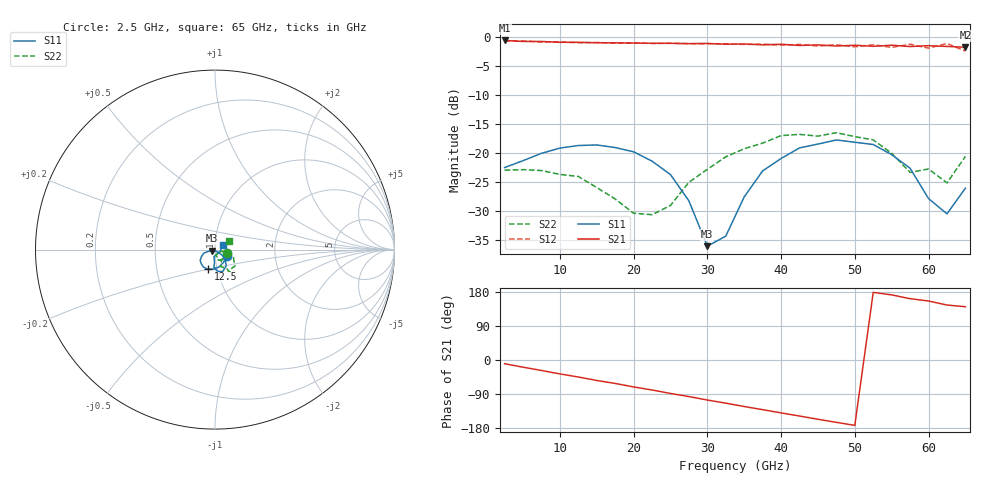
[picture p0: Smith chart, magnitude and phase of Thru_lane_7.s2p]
! File created by SignalIntegrity v1.5.1: Signal and Power Integrity Tools
! https://github.com/Nubis-Communications/SignalIntegrity
# MHz S MA R 50.0
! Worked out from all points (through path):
!   26 points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, 2.5 GHz to 65 GHz, reference 50 ohm
!   highest |S21| = -0.63 dB at 2.5 GHz (marker M1); lowest = -1.8 dB at 65 GHz (marker M2)
!   group delay of S21, straight-line fit = 9.4 ps
!   lowest |S11| = -36.1 dB at 30 GHz (marker M3), VSWR 1.03, Z = 48.5 - j0.526 ohm
!   |S11| at or under -10 dB: start of sweep to end of sweep
!   |S22| runs from -30.6 to -16.5 dB; largest |S21 - S12| = 0.072
!   S11 on the Smith chart (normalised r, x): 2.5 GHz: 1.14, -0.08; 12.5 GHz: 0.91, -0.20; 65 GHz: 1.09, +0.05
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2500  0.07476 -29.0  0.93 -9.8  0.916 -10.0  0.07091 -14.2
5000  0.08568 -56.8  0.9115 -18.9  0.9227 -18.8  0.07173 -32.9
12500  0.1158 -108.8  0.8975 -44.9  0.8874 -45.5  0.06264 -71.4
15000  0.1171 -122.3  0.8876 -54.0  0.8946 -53.4  0.05031 -79.7
20000  0.1022 -143.9  0.8829 -71.1  0.8866 -70.4  0.03021 -83.3
22500  0.08489 -152.8  0.8799 -79.1  0.8761 -80.1  0.02935 -41.5
25000  0.06501 -162.5  0.879 -88.3  0.8789 -87.4  0.03526 -15.9
27500  0.03857 -165.4  0.8725 -96.4  0.874 -97.4  0.05583 -9.9
30000  0.01572 -159.9  0.8763 -105.7  0.8717 -104.7  0.07222 -16.9
32500  0.01919 -42.1  0.863 -113.9  0.8698 -114.7  0.09253 -16.1
35000  0.04179 -37.8  0.8681 -122.8  0.86 -121.8  0.1086 -20.2
37500  0.06994 -40.4  0.8524 -131.1  0.8638 -131.9  0.1215 -29.8
40000  0.08947 -48.9  0.8626 -139.6  0.848 -138.9  0.1409 -38.1
42500  0.1104 -55.6  0.8421 -147.9  0.8586 -148.7  0.1443 -39.8
45000  0.1191 -63.9  0.8519 -156.3  0.8334 -155.5  0.1395 -47.3
47500  0.1292 -70.5  0.8326 -164.5  0.8534 -165.1  0.1492 -55.6
52500  0.1181 -85.2  0.8282 178.5  0.8541 178.6  0.1294 -57.2
55000  0.09651 -93.7  0.8467 171.8  0.8103 171.6  0.0992 -71.5
57500  0.07372 -92.2  0.8242 161.8  0.8619 162.7  0.06785 -57.9
60000  0.04042 -98.0  0.8384 155.7  0.7986 154.8  0.07269 -39.7
62500  0.02983 -23.4  0.8262 145.0  0.8751 147.1  0.05517 6.0
65000  0.04963 29.0  0.8127 140.6  0.7538 137.6  0.09316 32.8
